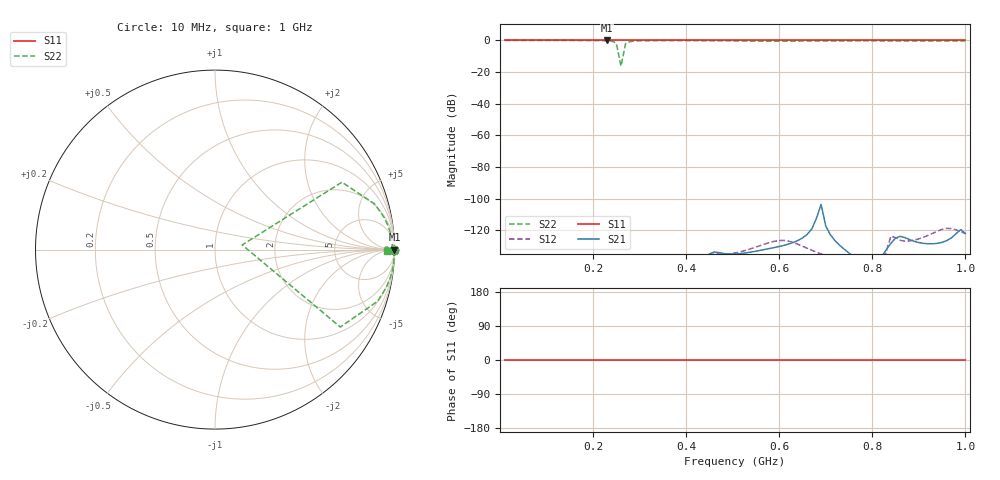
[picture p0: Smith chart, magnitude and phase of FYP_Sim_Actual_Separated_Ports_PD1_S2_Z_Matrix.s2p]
! Touchstone file from project FYP_Sim_Actual_Separated_Ports
! Exported from HFSS 13.0.2
# GHZ Z MA R 50.000000
! Terminal data exported
! Port[1] = PD1_Void_Port_T1
! Port[2] = Radiating_Plate_T1
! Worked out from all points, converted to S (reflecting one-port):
!   100 points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, 10 MHz to 1 GHz, reference 50 ohm
!   lowest |S11| = 0.0 dB at 230 MHz (marker M1)
!   phase of S11 starts at -0 deg and turns -0 deg over the sweep
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0.01  3.79e+05 -90.0  0.001841 148.7  0.0002029 -49.3  793.6 -89.2
0.12  3.159e+04 -90.0  0.0004573 26.5  0.0003107 41.3  55.88 -89.0
0.18  2.107e+04 -90.0  0.0007112 44.4  0.0005814 54.9  26.49 -88.4
0.21  1.805e+04 -90.0  0.0005927 67.0  0.0005802 68.2  15.94 -87.1
0.22  1.722e+04 -90.0  0.0005264 80.3  0.0005505 75.3  12.68 -86.1
0.23  1.646e+04 -89.9  0.0004594 100.5  0.0004998 86.0  9.49 -84.3
0.24  1.583e+04 -89.9  0.0004321 131.6  0.0004321 105.1  6.362 -80.6
0.25  1.519e+04 -90.0  0.0005251 169.8  0.0004018 143.4  3.329 -69.3
0.26  1.46e+04 -90.0  0.0008101 -158.1  0.0006426 -166.5  1.357 3.0
0.27  1.406e+04 -90.0  0.001329 -133.0  0.00147 -131.8  3.672 64.5
0.28  1.355e+04 -90.0  0.002156 -109.0  0.003506 -96.4  6.904 74.2
0.29  1.308e+04 -90.0  0.00332 -80.9  0.005798 -40.2  10.35 77.4
0.3  1.265e+04 -90.0  0.004389 -46.8  0.004987 -0.2  14 78.7
0.31  1.224e+04 -90.0  0.004607 -13.1  0.004178 16.2  17.91 79.1
0.34  1.115e+04 -90.0  0.00327 52.7  0.003677 26.1  31.88 77.4
0.41  9247 -90.0  0.01494 -156.6  0.01565 -58.9  96.16 49.0
0.51  7431 -90.0  0.03591 -37.8  0.03975 60.9  52.79 -21.7
0.58  6533 -90.0  0.03161 -13.3  0.04894 15.7  35.12 0.2
0.62  6111 -90.0  0.04396 -4.5  0.05464 -36.7  38.11 14.0
0.67  5654 -90.0  0.1535 -1.0  0.03255 -90.9  48.06 20.0
0.84  4509 -90.0  0.05544 9.3  0.09244 38.4  61.94 -7.2
1  3787 -90.0  0.07368 -19.8  0.0741 -34.9  48.32 -8.2
